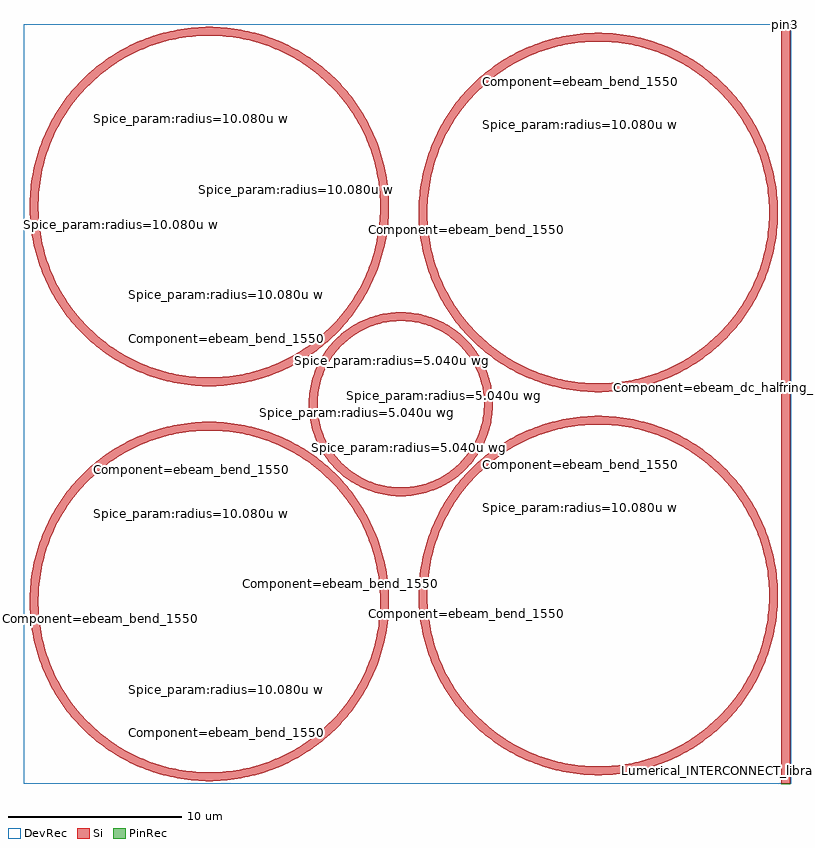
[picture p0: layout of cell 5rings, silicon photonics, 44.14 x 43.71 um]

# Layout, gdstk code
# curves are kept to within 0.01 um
import gdstk
lib = gdstk.Library(unit=1e-6, precision=1e-09)
def R(c, l, rs):  # rectangles x0, y0, x1, y1
    for r in rs: c.add(gdstk.rectangle(r[:2], r[2:], *l))
def P(c, l, *ps):  # polygons
    for p in ps: c.add(gdstk.Polygon(p, *l))
Si = (1, 0)
PinRec = (1, 10)
DevRec = (68, 0)

c_5rings = lib.new_cell('5rings')
R(c_5rings, Si, [(43.732,0.34,44.232,22.372), (43.732,22.372,44.232,44.032)])
P(c_5rings, Si, [(26.636,22.176),(26.619,22.579),(26.569,22.977),(26.449,23.502),(26.322,23.884),(26.162,24.255),(25.972,24.61),(25.674,25.056),(25.418,25.367),(25.137,25.656),(24.726,26.004),(24.28,26.302),(23.803,26.548),(23.301,26.74),(22.912,26.846),(22.383,26.936),(21.846,26.966),(21.846,27.466),(22.437,27.432),(23.024,27.334),(23.594,27.169),(24.007,27.004),(24.405,26.806),(24.908,26.49),(25.371,26.12),(25.79,25.701),(26.16,25.238),(26.402,24.864),(26.546,24.604),(26.733,24.201),(26.839,23.924),(27.004,23.354),(27.102,22.767),(27.136,22.176)],
  [(21.846,16.886),(21.401,16.905),(20.814,16.988),(20.239,17.136),(19.821,17.289),(19.287,17.546),(18.908,17.777),(18.433,18.134),(18.105,18.435),(17.804,18.763),(17.447,19.238),(17.216,19.617),(16.959,20.151),(16.806,20.569),(16.658,21.144),(16.575,21.731),(16.556,22.176),(17.056,22.176),(17.086,21.639),(17.148,21.242),(17.282,20.721),(17.421,20.343),(17.59,19.978),(17.863,19.514),(18.186,19.085),(18.459,18.789),(18.755,18.516),(19.184,18.193),(19.648,17.92),(20.013,17.751),(20.391,17.612),(20.912,17.478),(21.309,17.416),(21.846,17.386)],
  [(16.556,22.176),(16.575,22.621),(16.658,23.208),(16.806,23.783),(16.959,24.201),(17.216,24.735),(17.447,25.114),(17.804,25.589),(18.105,25.917),(18.433,26.218),(18.908,26.575),(19.287,26.806),(19.821,27.063),(20.239,27.216),(20.814,27.364),(21.401,27.447),(21.846,27.466),(21.846,26.966),(21.309,26.936),(20.912,26.874),(20.391,26.74),(20.013,26.601),(19.648,26.432),(19.184,26.159),(18.755,25.836),(18.459,25.563),(18.186,25.267),(17.863,24.838),(17.59,24.374),(17.421,24.009),(17.282,23.631),(17.148,23.11),(17.086,22.713),(17.056,22.176)],
  [(21.846,16.886),(21.846,17.386),(22.383,17.416),(22.78,17.478),(23.301,17.612),(23.679,17.751),(24.044,17.92),(24.508,18.193),(24.937,18.516),(25.233,18.789),(25.506,19.085),(25.829,19.514),(26.102,19.978),(26.271,20.343),(26.41,20.721),(26.544,21.242),(26.606,21.639),(26.636,22.176),(27.136,22.176),(27.117,21.731),(27.034,21.144),(26.886,20.569),(26.733,20.151),(26.476,19.617),(26.245,19.238),(25.888,18.763),(25.587,18.435),(25.259,18.134),(24.784,17.777),(24.405,17.546),(23.871,17.289),(23.453,17.136),(22.878,16.988),(22.291,16.905)],
  [(33.202,0.84),(33.202,1.34),(33.788,1.357),(34.372,1.41),(34.952,1.497),(35.525,1.618),(35.903,1.718),(36.462,1.896),(37.009,2.107),(37.542,2.35),(37.89,2.53),(38.396,2.824),(39.043,3.264),(39.353,3.502),(39.799,3.882),(40.357,4.43),(40.87,5.019),(41.223,5.487),(41.443,5.811),(41.649,6.143),(41.934,6.655),(42.106,7.006),(42.339,7.544),(42.476,7.91),(42.654,8.469),(42.754,8.847),(42.875,9.42),(42.937,9.806),(43.001,10.389),(43.032,11.17),(43.001,11.951),(42.937,12.534),(42.875,12.92),(42.754,13.493),(42.654,13.871),(42.539,14.245),(42.339,14.796),(42.106,15.334),(41.934,15.685),(41.649,16.197),(41.443,16.529),(41.223,16.853),(40.87,17.321),(40.357,17.91),(39.799,18.458),(39.353,18.838),(39.043,19.076),(38.396,19.516),(37.89,19.81),(37.542,19.99),(37.009,20.233),(36.462,20.444),(35.903,20.622),(35.525,20.722),(34.952,20.843),(34.372,20.93),(33.788,20.983),(33.202,21),(33.202,21.5),(33.818,21.482),(34.227,21.449),(34.838,21.37),(35.242,21.296),(35.843,21.157),(36.237,21.044),(36.628,20.915),(37.203,20.694),(37.947,20.346),(38.308,20.15),(38.834,19.83),(39.34,19.479),(39.666,19.228),(39.981,18.965),(40.433,18.547),(40.721,18.253),(41.13,17.792),(41.511,17.308),(41.748,16.973),(41.972,16.629),(42.282,16.096),(42.559,15.546),(42.726,15.171),(42.947,14.596),(43.076,14.205),(43.189,13.811),(43.328,13.21),(43.402,12.806),(43.481,12.195),(43.514,11.786),(43.532,11.17),(43.514,10.554),(43.481,10.145),(43.402,9.534),(43.328,9.13),(43.189,8.529),(43.076,8.135),(42.947,7.744),(42.726,7.169),(42.378,6.425),(42.182,6.064),(41.862,5.538),(41.511,5.032),(41.26,4.706),(40.997,4.391),(40.579,3.939),(40.285,3.651),(39.824,3.242),(39.34,2.861),(39.005,2.624),(38.661,2.4),(38.128,2.09),(37.578,1.813),(37.203,1.646),(36.628,1.425),(36.237,1.296),(35.843,1.183),(35.242,1.044),(34.838,0.97),(34.227,0.891),(33.818,0.858)],
  [(33.202,0.84),(32.586,0.858),(32.177,0.891),(31.77,0.939),(31.162,1.044),(30.561,1.183),(30.166,1.296),(29.776,1.424),(29.201,1.646),(28.826,1.813),(28.276,2.09),(27.919,2.293),(27.399,2.624),(26.738,3.112),(26.423,3.375),(25.971,3.794),(25.683,4.086),(25.274,4.548),(25.017,4.867),(24.656,5.367),(24.325,5.887),(24.122,6.244),(23.845,6.794),(23.678,7.169),(23.456,7.744),(23.328,8.134),(23.215,8.529),(23.076,9.13),(22.971,9.738),(22.923,10.145),(22.89,10.554),(22.872,11.17),(23.372,11.17),(23.39,10.584),(23.442,9.999),(23.496,9.613),(23.606,9.037),(23.75,8.469),(23.928,7.91),(24.14,7.363),(24.382,6.829),(24.755,6.143),(25.181,5.487),(25.658,4.868),(26.182,4.289),(26.751,3.753),(27.36,3.263),(28.008,2.824),(28.344,2.624),(28.861,2.35),(29.395,2.108),(29.942,1.896),(30.501,1.718),(31.069,1.574),(31.645,1.464),(32.031,1.41),(32.616,1.358),(33.202,1.34)],
  [(22.872,11.17),(22.89,11.786),(22.923,12.195),(22.971,12.602),(23.076,13.21),(23.215,13.811),(23.328,14.206),(23.456,14.596),(23.678,15.171),(23.845,15.546),(24.122,16.096),(24.325,16.453),(24.656,16.973),(25.144,17.634),(25.407,17.949),(25.826,18.401),(26.118,18.689),(26.58,19.098),(26.899,19.355),(27.399,19.716),(27.919,20.047),(28.276,20.25),(28.826,20.527),(29.201,20.694),(29.776,20.916),(30.166,21.044),(30.561,21.157),(31.162,21.296),(31.77,21.401),(32.177,21.449),(32.586,21.482),(33.202,21.5),(33.202,21),(32.616,20.982),(32.031,20.93),(31.645,20.876),(31.069,20.766),(30.501,20.622),(29.942,20.444),(29.395,20.232),(28.861,19.99),(28.175,19.617),(27.519,19.191),(26.9,18.714),(26.321,18.19),(25.785,17.621),(25.295,17.012),(24.856,16.364),(24.656,16.028),(24.382,15.511),(24.14,14.977),(23.928,14.43),(23.75,13.871),(23.606,13.303),(23.496,12.727),(23.442,12.341),(23.39,11.756),(23.372,11.17)],
  [(33.202,22.872),(33.202,23.372),(33.788,23.389),(34.372,23.442),(34.952,23.529),(35.525,23.65),(35.903,23.75),(36.462,23.928),(37.009,24.139),(37.542,24.382),(37.89,24.562),(38.396,24.856),(39.043,25.296),(39.353,25.534),(39.799,25.914),(40.357,26.462),(40.87,27.051),(41.223,27.519),(41.443,27.843),(41.649,28.175),(41.934,28.687),(42.106,29.038),(42.339,29.576),(42.476,29.942),(42.654,30.501),(42.754,30.879),(42.875,31.452),(42.937,31.838),(43.001,32.421),(43.032,33.202),(43.001,33.983),(42.937,34.566),(42.875,34.952),(42.754,35.525),(42.654,35.903),(42.539,36.277),(42.339,36.828),(42.106,37.366),(41.934,37.717),(41.649,38.229),(41.443,38.561),(41.223,38.885),(40.87,39.353),(40.357,39.942),(39.799,40.49),(39.353,40.87),(39.043,41.108),(38.396,41.548),(37.89,41.842),(37.542,42.022),(37.009,42.265),(36.462,42.476),(35.903,42.654),(35.525,42.754),(34.952,42.875),(34.372,42.962),(33.788,43.015),(33.202,43.032),(33.202,43.532),(33.818,43.514),(34.227,43.481),(34.838,43.402),(35.242,43.328),(35.843,43.189),(36.237,43.076),(36.628,42.947),(37.203,42.726),(37.947,42.378),(38.308,42.182),(38.834,41.862),(39.34,41.511),(39.666,41.26),(39.981,40.997),(40.433,40.579),(40.721,40.285),(41.13,39.824),(41.511,39.34),(41.748,39.005),(41.972,38.661),(42.282,38.128),(42.559,37.578),(42.726,37.203),(42.947,36.628),(43.076,36.237),(43.189,35.843),(43.328,35.242),(43.402,34.838),(43.481,34.227),(43.514,33.818),(43.532,33.202),(43.514,32.586),(43.481,32.177),(43.402,31.566),(43.328,31.162),(43.189,30.561),(43.076,30.167),(42.947,29.776),(42.726,29.201),(42.378,28.457),(42.182,28.096),(41.862,27.57),(41.511,27.064),(41.26,26.738),(40.997,26.423),(40.579,25.971),(40.285,25.683),(39.824,25.274),(39.34,24.893),(39.005,24.656),(38.661,24.432),(38.128,24.122),(37.578,23.845),(37.203,23.678),(36.628,23.457),(36.237,23.328),(35.843,23.215),(35.242,23.076),(34.838,23.002),(34.227,22.923),(33.818,22.89)],
  [(33.202,22.872),(32.586,22.89),(32.177,22.923),(31.77,22.971),(31.162,23.076),(30.561,23.215),(30.166,23.328),(29.776,23.456),(29.201,23.678),(28.826,23.845),(28.276,24.122),(27.919,24.325),(27.399,24.656),(26.738,25.144),(26.423,25.407),(25.971,25.826),(25.683,26.118),(25.274,26.58),(25.017,26.899),(24.656,27.399),(24.325,27.919),(24.122,28.276),(23.845,28.826),(23.678,29.201),(23.456,29.776),(23.328,30.166),(23.215,30.561),(23.076,31.162),(22.971,31.77),(22.923,32.177),(22.89,32.586),(22.872,33.202),(23.372,33.202),(23.39,32.616),(23.442,32.031),(23.496,31.645),(23.606,31.069),(23.75,30.501),(23.928,29.942),(24.14,29.395),(24.382,28.861),(24.755,28.175),(25.181,27.519),(25.658,26.9),(26.182,26.321),(26.751,25.785),(27.36,25.295),(28.008,24.856),(28.344,24.656),(28.861,24.382),(29.395,24.14),(29.942,23.928),(30.501,23.75),(31.069,23.606),(31.645,23.496),(32.031,23.442),(32.616,23.39),(33.202,23.372)],
  [(22.872,33.202),(22.89,33.818),(22.923,34.227),(22.971,34.634),(23.076,35.242),(23.215,35.843),(23.328,36.238),(23.456,36.628),(23.678,37.203),(23.845,37.578),(24.122,38.128),(24.325,38.485),(24.656,39.005),(25.144,39.666),(25.407,39.981),(25.826,40.433),(26.118,40.721),(26.58,41.13),(26.899,41.387),(27.399,41.748),(27.919,42.079),(28.276,42.282),(28.826,42.559),(29.201,42.726),(29.776,42.948),(30.166,43.076),(30.561,43.189),(31.162,43.328),(31.77,43.433),(32.177,43.481),(32.586,43.514),(33.202,43.532),(33.202,43.032),(32.616,43.014),(32.031,42.962),(31.645,42.908),(31.069,42.798),(30.501,42.654),(29.942,42.476),(29.395,42.264),(28.861,42.022),(28.175,41.649),(27.519,41.223),(26.9,40.746),(26.321,40.222),(25.785,39.653),(25.295,39.044),(24.856,38.396),(24.656,38.06),(24.382,37.543),(24.14,37.009),(23.928,36.462),(23.75,35.903),(23.606,35.335),(23.496,34.759),(23.442,34.373),(23.39,33.788),(23.372,33.202)],
  [(20.66,33.542),(20.629,34.323),(20.565,34.906),(20.503,35.291),(20.426,35.675),(20.282,36.243),(20.104,36.802),(19.967,37.168),(19.735,37.706),(19.562,38.057),(19.376,38.4),(19.071,38.901),(18.619,39.539),(18.247,39.993),(17.985,40.282),(17.427,40.83),(17.132,41.086),(16.672,41.449),(16.024,41.888),(15.688,42.088),(15.171,42.362),(14.637,42.604),(14.09,42.816),(13.531,42.994),(12.963,43.138),(12.387,43.248),(12.001,43.302),(11.416,43.354),(10.83,43.372),(10.83,43.872),(11.446,43.854),(11.855,43.821),(12.467,43.742),(13.071,43.626),(13.471,43.529),(14.061,43.354),(14.449,43.217),(15.019,42.985),(15.575,42.718),(15.936,42.522),(16.463,42.201),(16.801,41.971),(17.133,41.727),(17.609,41.337),(17.914,41.061),(18.349,40.626),(18.625,40.321),(19.015,39.845),(19.376,39.345),(19.707,38.825),(20.006,38.287),(20.273,37.731),(20.505,37.161),(20.642,36.773),(20.867,35.983),(21.03,35.179),(21.127,34.363),(21.16,33.542)],
  [(10.83,23.212),(10.214,23.23),(9.805,23.263),(9.398,23.311),(8.79,23.416),(8.189,23.555),(7.794,23.668),(7.404,23.796),(6.829,24.018),(6.454,24.185),(5.904,24.462),(5.547,24.665),(5.027,24.996),(4.366,25.484),(4.051,25.747),(3.599,26.166),(3.311,26.458),(2.902,26.92),(2.645,27.239),(2.284,27.739),(1.953,28.259),(1.75,28.616),(1.473,29.166),(1.306,29.541),(1.084,30.116),(0.956,30.506),(0.843,30.901),(0.704,31.502),(0.599,32.11),(0.551,32.517),(0.518,32.926),(0.5,33.542),(1,33.542),(1.018,32.956),(1.07,32.371),(1.124,31.985),(1.234,31.409),(1.378,30.841),(1.556,30.282),(1.768,29.735),(2.01,29.201),(2.383,28.515),(2.809,27.859),(3.286,27.24),(3.81,26.661),(4.379,26.125),(4.988,25.635),(5.636,25.196),(5.972,24.996),(6.489,24.722),(7.023,24.48),(7.57,24.268),(8.129,24.09),(8.697,23.946),(9.273,23.836),(9.659,23.782),(10.244,23.73),(10.83,23.712)],
  [(0.5,33.542),(0.518,34.158),(0.551,34.567),(0.599,34.974),(0.704,35.582),(0.843,36.183),(0.956,36.578),(1.084,36.968),(1.306,37.543),(1.473,37.918),(1.75,38.468),(1.953,38.825),(2.284,39.345),(2.772,40.006),(3.035,40.321),(3.454,40.773),(3.746,41.061),(4.208,41.47),(4.527,41.727),(5.027,42.088),(5.547,42.419),(5.904,42.622),(6.454,42.899),(6.829,43.066),(7.404,43.288),(7.794,43.416),(8.189,43.529),(8.79,43.668),(9.398,43.773),(9.805,43.821),(10.214,43.854),(10.83,43.872),(10.83,43.372),(10.244,43.354),(9.659,43.302),(9.273,43.248),(8.697,43.138),(8.129,42.994),(7.57,42.816),(7.023,42.604),(6.489,42.362),(5.803,41.989),(5.147,41.563),(4.528,41.086),(3.949,40.562),(3.413,39.993),(2.923,39.384),(2.484,38.736),(2.284,38.4),(2.01,37.883),(1.768,37.349),(1.556,36.802),(1.378,36.243),(1.234,35.675),(1.124,35.099),(1.07,34.713),(1.018,34.128),(1,33.542)],
  [(10.83,23.212),(10.83,23.712),(11.416,23.73),(12.001,23.782),(12.387,23.836),(12.963,23.946),(13.531,24.09),(14.09,24.268),(14.637,24.48),(15.171,24.722),(15.857,25.095),(16.513,25.521),(17.132,25.998),(17.711,26.522),(18.247,27.091),(18.737,27.7),(19.176,28.348),(19.376,28.684),(19.65,29.201),(19.892,29.735),(20.104,30.282),(20.282,30.841),(20.426,31.409),(20.536,31.985),(20.59,32.371),(20.642,32.956),(20.66,33.542),(21.16,33.542),(21.142,32.926),(21.109,32.517),(21.061,32.11),(20.956,31.502),(20.817,30.901),(20.704,30.506),(20.576,30.116),(20.354,29.541),(20.187,29.166),(19.91,28.616),(19.707,28.259),(19.376,27.739),(18.888,27.078),(18.625,26.763),(18.206,26.311),(17.914,26.023),(17.452,25.614),(17.133,25.357),(16.633,24.996),(16.113,24.665),(15.756,24.462),(15.206,24.185),(14.831,24.018),(14.256,23.796),(13.866,23.668),(13.471,23.555),(12.87,23.416),(12.262,23.311),(11.855,23.263),(11.446,23.23)],
  [(20.66,10.83),(20.629,11.611),(20.565,12.194),(20.503,12.579),(20.426,12.963),(20.282,13.531),(20.104,14.09),(19.967,14.456),(19.735,14.994),(19.562,15.345),(19.376,15.688),(19.071,16.189),(18.619,16.827),(18.247,17.281),(17.985,17.57),(17.427,18.118),(17.132,18.374),(16.672,18.737),(16.024,19.176),(15.688,19.376),(15.171,19.65),(14.637,19.892),(14.09,20.104),(13.531,20.282),(12.963,20.426),(12.387,20.536),(12.001,20.59),(11.416,20.642),(10.83,20.66),(10.83,21.16),(11.446,21.142),(11.855,21.109),(12.467,21.03),(13.071,20.914),(13.471,20.817),(14.061,20.642),(14.449,20.505),(15.019,20.273),(15.575,20.006),(15.936,19.81),(16.463,19.489),(16.801,19.259),(17.133,19.015),(17.609,18.625),(17.914,18.349),(18.349,17.914),(18.625,17.609),(19.015,17.133),(19.376,16.633),(19.707,16.113),(20.006,15.575),(20.273,15.019),(20.505,14.449),(20.642,14.061),(20.867,13.271),(21.03,12.467),(21.127,11.651),(21.16,10.83)],
  [(10.83,0.5),(10.214,0.518),(9.805,0.551),(9.398,0.599),(8.79,0.704),(8.189,0.843),(7.794,0.956),(7.404,1.084),(6.829,1.306),(6.454,1.473),(5.904,1.75),(5.547,1.953),(5.027,2.284),(4.366,2.772),(4.051,3.035),(3.599,3.454),(3.311,3.746),(2.902,4.208),(2.645,4.527),(2.284,5.027),(1.953,5.547),(1.75,5.904),(1.473,6.454),(1.306,6.829),(1.084,7.404),(0.956,7.794),(0.843,8.189),(0.704,8.79),(0.599,9.398),(0.551,9.805),(0.518,10.214),(0.5,10.83),(1,10.83),(1.018,10.244),(1.07,9.659),(1.124,9.273),(1.234,8.697),(1.378,8.129),(1.556,7.57),(1.768,7.023),(2.01,6.489),(2.383,5.803),(2.809,5.147),(3.286,4.528),(3.81,3.949),(4.379,3.413),(4.988,2.923),(5.636,2.484),(5.972,2.284),(6.489,2.01),(7.023,1.768),(7.57,1.556),(8.129,1.378),(8.697,1.234),(9.273,1.124),(9.659,1.07),(10.244,1.018),(10.83,1)],
  [(0.5,10.83),(0.518,11.446),(0.551,11.855),(0.599,12.262),(0.704,12.87),(0.843,13.471),(0.956,13.866),(1.084,14.256),(1.306,14.831),(1.473,15.206),(1.75,15.756),(1.953,16.113),(2.284,16.633),(2.772,17.294),(3.035,17.609),(3.454,18.061),(3.746,18.349),(4.208,18.758),(4.527,19.015),(5.027,19.376),(5.547,19.707),(5.904,19.91),(6.454,20.187),(6.829,20.354),(7.404,20.576),(7.794,20.704),(8.189,20.817),(8.79,20.956),(9.398,21.061),(9.805,21.109),(10.214,21.142),(10.83,21.16),(10.83,20.66),(10.244,20.642),(9.659,20.59),(9.273,20.536),(8.697,20.426),(8.129,20.282),(7.57,20.104),(7.023,19.892),(6.489,19.65),(5.803,19.277),(5.147,18.851),(4.528,18.374),(3.949,17.85),(3.413,17.281),(2.923,16.672),(2.484,16.024),(2.284,15.688),(2.01,15.171),(1.768,14.637),(1.556,14.09),(1.378,13.531),(1.234,12.963),(1.124,12.387),(1.07,12.001),(1.018,11.416),(1,10.83)],
  [(10.83,0.5),(10.83,1),(11.416,1.018),(12.001,1.07),(12.387,1.124),(12.963,1.234),(13.531,1.378),(14.09,1.556),(14.637,1.768),(15.171,2.01),(15.857,2.383),(16.513,2.809),(17.132,3.286),(17.711,3.81),(18.247,4.379),(18.737,4.988),(19.176,5.636),(19.376,5.972),(19.65,6.489),(19.892,7.023),(20.104,7.57),(20.282,8.129),(20.426,8.697),(20.536,9.273),(20.59,9.659),(20.642,10.244),(20.66,10.83),(21.16,10.83),(21.142,10.214),(21.109,9.805),(21.061,9.398),(20.956,8.79),(20.817,8.189),(20.704,7.794),(20.576,7.404),(20.354,6.829),(20.187,6.454),(19.91,5.904),(19.707,5.547),(19.376,5.027),(18.888,4.366),(18.625,4.051),(18.206,3.599),(17.914,3.311),(17.452,2.902),(17.133,2.645),(16.633,2.284),(16.113,1.953),(15.756,1.75),(15.206,1.473),(14.831,1.306),(14.256,1.084),(13.866,0.956),(13.471,0.843),(12.87,0.704),(12.262,0.599),(11.855,0.551),(11.446,0.518)])
R(c_5rings, DevRec, [(0.16,0.34,44.3,44.032)])
c_5rings.add(gdstk.FlexPath([(43.982,0.35),(43.982,0.33)], 0.5, ends="flush", simple_path=True, layer=1, datatype=10))  # PinRec
c_5rings.add(gdstk.FlexPath([(43.982,44.022),(43.982,44.042)], 0.5, ends="flush", simple_path=True, layer=1, datatype=10))  # PinRec
c_5rings.add(gdstk.Label('Spice_param:radius=5.040u wg_width=0.500u', (24.366,22.68), layer=68, texttype=0))
c_5rings.add(gdstk.Label('Spice_param:radius=5.040u wg_width=0.500u', (19.326,21.672), layer=68, texttype=0))
c_5rings.add(gdstk.Label('Spice_param:radius=5.040u wg_width=0.500u', (21.342,24.696), layer=68, texttype=0))
c_5rings.add(gdstk.Label('Spice_param:radius=5.040u wg_width=0.500u', (22.35,19.656), layer=68, texttype=0))
c_5rings.add(gdstk.Label('Lumerical_INTERCONNECT_library=Design kits/ebeam', (43.982,1.09), layer=68, texttype=0))
c_5rings.add(gdstk.Label('Component=ebeam_dc_halfring_straight', (41.462,1.09), layer=68, texttype=0))
c_5rings.add(gdstk.Label('Spice_param:wg_width=5e-07 gap=2e-07 radius=1.01e-05 Lc=0 orthogonal_identifier=1', (38.942,1.09), layer=68, texttype=0))
c_5rings.add(gdstk.Label('Component=ebeam_bend_1550', (25.642,10.162), layer=68, texttype=0))
c_5rings.add(gdstk.Label('Spice_param:radius=10.080u wg_width=0.500u', (28.162,10.162), layer=68, texttype=0))
c_5rings.add(gdstk.Label('Component=ebeam_bend_1550', (32.194,18.73), layer=68, texttype=0))
c_5rings.add(gdstk.Label('Spice_param:radius=10.080u wg_width=0.500u', (32.194,16.21), layer=68, texttype=0))
c_5rings.add(gdstk.Label('Component=ebeam_dc_halfring_straight', (41.462,23.122), layer=68, texttype=0))
c_5rings.add(gdstk.Label('Spice_param:wg_width=5e-07 gap=2e-07 radius=1.01e-05 Lc=0 orthogonal_identifier=1', (38.942,23.122), layer=68, texttype=0))
c_5rings.add(gdstk.Label('Component=ebeam_bend_1550', (25.642,32.194), layer=68, texttype=0))
c_5rings.add(gdstk.Label('Spice_param:radius=10.080u wg_width=0.500u', (28.162,32.194), layer=68, texttype=0))
c_5rings.add(gdstk.Label('Component=ebeam_bend_1550', (32.194,40.762), layer=68, texttype=0))
c_5rings.add(gdstk.Label('Spice_param:radius=10.080u wg_width=0.500u', (32.194,38.242), layer=68, texttype=0))
c_5rings.add(gdstk.Label('Spice_param:radius=10.080u wg_width=0.500u', (15.87,34.55), layer=68, texttype=0))
c_5rings.add(gdstk.Label('Spice_param:radius=10.080u wg_width=0.500u', (5.79,32.534), layer=68, texttype=0))
c_5rings.add(gdstk.Label('Spice_param:radius=10.080u wg_width=0.500u', (9.822,38.582), layer=68, texttype=0))
c_5rings.add(gdstk.Label('Component=ebeam_bend_1550', (11.838,25.982), layer=68, texttype=0))
c_5rings.add(gdstk.Label('Spice_param:radius=10.080u wg_width=0.500u', (11.838,28.502), layer=68, texttype=0))
c_5rings.add(gdstk.Label('Component=ebeam_bend_1550', (18.39,11.838), layer=68, texttype=0))
c_5rings.add(gdstk.Label('Spice_param:radius=10.080u wg_width=0.500u', (15.87,11.838), layer=68, texttype=0))
c_5rings.add(gdstk.Label('Component=ebeam_bend_1550', (3.27,9.822), layer=68, texttype=0))
c_5rings.add(gdstk.Label('Spice_param:radius=10.080u wg_width=0.500u', (5.79,9.822), layer=68, texttype=0))
c_5rings.add(gdstk.Label('Component=ebeam_bend_1550', (9.822,18.39), layer=68, texttype=0))
c_5rings.add(gdstk.Label('Spice_param:radius=10.080u wg_width=0.500u', (9.822,15.87), layer=68, texttype=0))
c_5rings.add(gdstk.Label('Component=ebeam_bend_1550', (11.838,3.27), layer=68, texttype=0))
c_5rings.add(gdstk.Label('Spice_param:radius=10.080u wg_width=0.500u', (11.838,5.79), layer=68, texttype=0))
c_5rings.add(gdstk.Label('pin1', (43.982,0.34), layer=1, texttype=10))
c_5rings.add(gdstk.Label('pin3', (43.982,44.032), layer=1, texttype=10))

lib.write_gds('5rings.gds')
